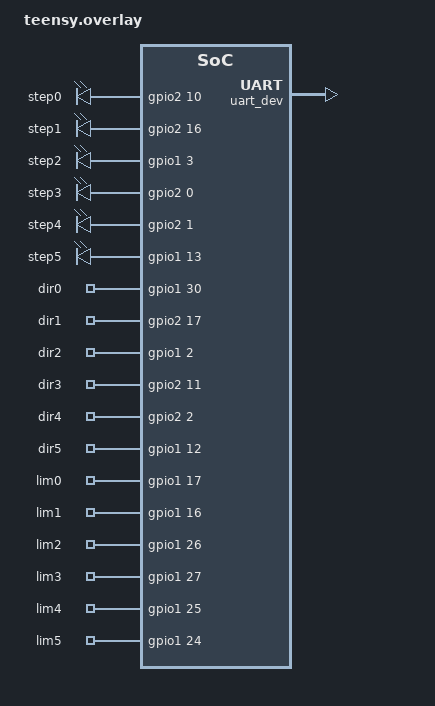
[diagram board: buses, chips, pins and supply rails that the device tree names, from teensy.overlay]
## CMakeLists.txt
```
cmake_minimum_required(VERSION 3.20.0)
find_package(Zephyr REQUIRED HINTS $ENV{ZEPHYR_BASE})
#arm_firmware v2
project(arm_firmware)

target_include_directories(app PRIVATE 
    include
    src
)

#telling it what targets to aim for

# FILE(GLOB app_sources src/main.cpp src/Axis.cpp)
# FILE(GLOB app_sources src/main2.cpp)
FILE(GLOB app_sources src/*.cpp)

target_sources(app PRIVATE ${app_sources}) 
```

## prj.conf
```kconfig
CONFIG_STDOUT_CONSOLE=y
CONFIG_USB_DEVICE_STACK=y
CONFIG_USB_DEVICE_PRODUCT="UBC ROVER Arm"
CONFIG_USB_DEVICE_PID=0x0001
CONFIG_LOG=y
CONFIG_USB_DRIVER_LOG_LEVEL_ERR=y
CONFIG_USB_DEVICE_LOG_LEVEL_ERR=y
CONFIG_SERIAL=y
CONFIG_UART_INTERRUPT_DRIVEN=y
CONFIG_UART_LINE_CTRL=y
CONFIG_USB_DEVICE_INITIALIZE_AT_BOOT=n

CONFIG_GPIO=y

CONFIG_NEWLIB_LIBC=y
CONFIG_STATIC_INIT_GNU=y
```

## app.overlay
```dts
&zephyr_udc0 {
	cdc_acm_uart0 {
		compatible = "zephyr_udc0,cdc-acm-uart";
	};
};
```

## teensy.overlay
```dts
//https://docs.zephyrproject.org/latest/boards/pjrc/teensy4/doc/index.html
//https://hackaday.com/wp-content/uploads/2020/05/teensy-4.1-pinout.png?w=640

&zephyr_udc0 {
	uart_dev: cdc_acm_uart0 {
		compatible = "zephyr,cdc-acm-uart";
	};
};
 
/ {
    gpio_pins {
        step_pins: step_pins {
			compatible = "gpio-leds";
            label = "Step Pins";
            step0: pin0 {
                gpios = <&gpio2 10 GPIO_ACTIVE_HIGH>;
            };
            step1: pin1 {
                gpios = <&gpio2 16 GPIO_ACTIVE_HIGH>;
            };
            step2: pin2 {
                gpios = <&gpio1 3 GPIO_ACTIVE_HIGH>;
            };
            step3: pin3 {
                gpios = <&gpio2 0 GPIO_ACTIVE_HIGH>;
            };
            step4: pin4 {
                gpios = <&gpio2 1 GPIO_ACTIVE_HIGH>;
            };
            step5: pin5 {
                gpios = <&gpio1 13 GPIO_ACTIVE_HIGH>;
            };
        };

		// Define direction GPIO pins
		dir_pins: dir_pins {
			compatible = "gpio-keys";
			label = "Direction Pins";
			dir0: pin0 {
				gpios = <&gpio1 30 GPIO_ACTIVE_HIGH>;
			};
			dir1: pin1 {
				gpios = <&gpio2 17 GPIO_ACTIVE_HIGH>;
			};
			dir2: pin2 {
				gpios = <&gpio1 2 GPIO_ACTIVE_HIGH>;
			};
			dir3: pin3 {
				gpios = <&gpio2 11 GPIO_ACTIVE_HIGH>;
			};
			dir4: pin4 {
				gpios = <&gpio2 2 GPIO_ACTIVE_HIGH>;
			};
			dir5: pin5 {
				gpios = <&gpio1 12 GPIO_ACTIVE_HIGH>;
			};
		};
		
		// Define limit GPIO pins
		lim_pins: lim_pins {
			compatible = "gpio-keys";
			label = "Limit Pins";
			lim0: pin0 {
				gpios = <&gpio1 17 ( GPIO_PULL_UP)>;
			};
			lim1: pin1 {
				gpios = <&gpio1 16 ( GPIO_PULL_UP)>;
			};
			lim2: pin2 {
				gpios = <&gpio1 26 ( GPIO_PULL_UP)>;
			};
			lim3: pin3 {
				gpios = <&gpio1 27 ( GPIO_PULL_UP)>;
			};
			lim4: pin4 {
				gpios = <&gpio1 25 ( GPIO_PULL_UP)>;
			};
			lim5: pin5 {
				gpios = <&gpio1 24 ( GPIO_PULL_UP)>;
			};
		};
	};
};
```

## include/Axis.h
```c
#pragma once
#include <armFirmware.hpp>
// #define INIT_AXIS(i) Axis(stepPins[i], dirPins[i], encPinA[i], encPinB[i], ppr[i], red[i])

//if an axis is within this many steps to its max/min
#define POSITION_STEP_LIMIT_THRESHOLD 50

struct Axis {

    //variables don't get properly set here, even if "int foo = 1000;" foo will still equal 0. initilize in the main function of main.cpp
   // Axis(int dirPin, int stepPin, int encPinA, int encPinB, long ppr, float reduction);
    //setup pins
    int index;
    int LIMIT_PIN[2];
    int DIR_PIN[2];
    int STEP_PIN[2];
    int ENC_PIN_A;
    int ENC_PIN_B;
    //motor gear reduction and driver PPR (make sure to factor in microstep settings)
    int PPR;
    float REDUCTION;
    bool pulse_state;
    bool moving;
    
    //units here are usec per step
    int max_speed;
    int home_speed;
    volatile int current_speed = 10000;
    volatile int target_speed = 10000;
    int max_start_speed = 20000;
    int zero_speed = 10000; //limits minimum speed to a feasible start speed


    int home_accel = 0;
    int start_accel = 250; 
    int accel_slope = 10; //should stay at 1 for maximum smoothness
    int current_accel = 20000;

    float target_velocity;
    float current_velocity;
    float max_velocity;
    float home_velocity;

    int macrostep;

    bool dir;
    bool last_dir = 0;
    //bool dir_signal;
    int home_dir;
    int home_dir_vel;
    bool homing;
    bool homed = false;
    int preset_step_pos[1];

    int max_step_pos;
    int min_step_pos = 20 + POSITION_STEP_LIMIT_THRESHOLD;

    volatile int steps_remaining;
    volatile int step_pos = 0; // not from encoders
    volatile int step_des_pos;

    int decel_min_steps;

    volatile float des_angle_pos = 0.0;
    volatile float angle_pos = 0.0;
    //float max_angle_
    
    struct k_timer stepper_timer;
    struct k_timer accel_timer;
    //struct gpio_callback limit_switch_cb_data;

//   // Code to configure pins
    struct gpio_dt_spec step_spec;
    struct gpio_dt_spec dir_spec;
    struct gpio_dt_spec lim_spec;
//   static struct gpio_callback limit_switch_cb_data;

    // void attach();
    void readEncoder();
    void updateAngles();

    //void step(int steps);
    void home();    

    void set_gpio_dir(bool value);
    void set_gpio_step(bool value);
    int get_gpio_lim();
};
```

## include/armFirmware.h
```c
/*
Created By: Rowan Z
Created On: August 17, 2023
Updated On: 
Description: Header file for firmware for driving a 6 axis arm via ROS on a teensy 4.1 MCU
*/

//TODO, 
/* more tags throughout code in this zephyr project

crashes with more than 3 axis -- wrong gpio, pin 11 was messed
weird shit in the buffer, but will just sanitize -- not processing tx buffer data properly



this is not easy

*/
#pragma once
#include <stdlib.h>
#include <stdio.h>

#include <zephyr/kernel.h>
#include <zephyr/device.h>
#include <zephyr/drivers/uart.h>
#include <zephyr/sys/ring_buffer.h>
#include <zephyr/logging/log.h>


//usb (needed for uart)
#include <zephyr/usb/usb_device.h>
#include <zephyr/usb/usbd.h>

#include <zephyr/drivers/gpio.h>

#include <Axis.h>

#include <string>

// #define UART_DEVICE_NODE DT_CHOSEN(zephyr_shell_uart)
//#define UART_DEVICE DT_NODELABEL(lpuart4) 
// #define UART_DEV        DT_NODELABEL(lpuart4)
#define MSG_SIZE 32

#define DEBUG_MSGS true

// general parameters
#define NUM_AXES 7
#define ON 0
#define OFF 1
#define SW_ON 0
#define SW_OFF 1
#define FWD 1
#define REV 0

#define RING_BUF_SIZE 2048
#define RX_BUF_SIZE 128
#define TX_BUF_SIZE 128

#define ARM_DEG_RESOLUTION 0.01
#define ARM_DEG_VELOCITY_RESOLUTION 0.05
#define EE_INDEX 6

#define HOME 1
#define ABSOLUTE_TARGET_POSITION 2
#define INCREMENTAL_TARGET_POSITION 3
#define TARGET_VELOCITY_ID 4 //sets the target velocity, but doesnt command arm, will only move if there are steps_remaining
#define TEST_LIMITS 5
#define ABSOLUTE_TARGET_VELOCITY_ID 6 //sets target velocity, and commands arm to move at that velocity
#define HELP_CMDTYPE 7


#define POSITION_CONTROL 1 
#define VELOCITY_CONTROL 2 
#define PRO_MODE false //removes accelleration limits. This is dangerous, but gives the operator full control over when the arm stops


#define NUM_PRESET_POSITIONS 1
#define DEFAULT_POSITION 0

#define POSITION_PING_MS_INTERVAL 10 // 50ms is 20 hz // 20ms is 50hz // 10ms is 100hz 

#define SPEED_PING_MS_INTERVAL 150 // 50ms is 20 hz


#define ARM_COMM_RATE 20 //Hz, only here for refrence

//comm characters
#define HOME_CHAR 'h'
#define ANGLE_CALLBACK_CHAR 'A'
#define HELP_CHAR '?'

#define ACCEL_CURVE 1





//weird pin mappings
//all the usefull documentation I could find: https://docs.zephyrproject.org/latest/boards/arm/teensy4/doc/index.html 
// https://docs.zephyrproject.org/latest/boards/pjrc/teensy4/doc/index.html

// Motor pins     
// inline int stepPins[6] =   {6, 8, 2, 10, 12, 25}; 
// inline int dirPins[6] =    {5, 7, 1, 9, 11, 24}; 

//To GPIO devs                  //not working: 3 //working one dir: 1   // working: 2, 4, 5, 6 
inline int stepGPIO_PIN[NUM_AXES][2] =   {{2,10}, {2,16}, {1,3}, {2,0}, {2,1}, {1,13}, {2,18}}; 
inline int dirGPIO_PIN[NUM_AXES][2] =    {{1,30}, {2,17}, {1,2}, {2,11}, {2,2}, {1,12}, {2,19}}; 
// inline int stepGPIO_PIN[NUM_AXES][2] =   {{2,10}, {2,16}, {1,3}, {2,0}, {2,1}, {2,18}, {1, 13}}; 
// inline int dirGPIO_PIN[NUM_AXES][2] =    {{1,30}, {2,17}, {1,2}, {2,11}, {2,2}, {2,19}, {1, 12}}; 
inline int arpo = 0;

// Encoder pins
// inline int encPinA[6] = {17, 38, 40, 36, 13, 15};
// inline int encPinB[6] = {16, 37, 39, 35, 41, 14};

// limit switch pins
// inline int limPins[6] = {18, 19, 20, 21, 23, 22};
inline int limGPIO_PIN[NUM_AXES][2] = {{1,17}, {1,16}, {1,26}, {1,27}, {1,25}, {1,24}, {1, 25}}; //4,8

// pulses per revolution for motors
inline int ppr[NUM_AXES] = {400, 400, 400, 400, 400, 400, 400};

// Gear Reductions
// inline float red[6] = {50.0, 160.0, 92.3077, 43.936, 57.0, 5.18}; 
inline float red[NUM_AXES] = {50.0, 160.0, 92.3077, 250, 57.0, 170.00, 100.0}; //? Double check with arm 
// inline float red[6] = {50.0, 160.0, 92.3077, 43.936, 57.0, 20.00}; //? Double check with arm -> August 11th
//?A6 10:17 for belts -> 170 to one

//from old driver
// // Motor pins      
// int stepPins[6] =   {6, 8, 2, 10, 12, 25}; 
// int dirPins[6] =    {5, 7, 1, 9, 11, 24}; 

// // Encoder pins
// int encPinA[6] = {17, 38, 40, 36, 13, 15};
// int encPinB[6] = {16, 37, 39, 35, 41, 14};

// // limit switch pins
// int limPins[6] = {18, 19, 20, 21, 23, 22};

// // pulses per revolution for motors
// long ppr[6] = {400, 400, 400, 400, 400, 400};

// // Gear Reductions
// float red[6] = {50.0, 160.0, 92.3077, 43.936, 57.0, 5.18};

// End effector variables
const int closePos = 0; 
const int openPos = 9000; //TODO: needs to be set with proper step value for gear redcution and ppr
const int EEstepPin = 4;
const int EEdirPin = 3;
const int speedEE = 1000;
const int accEE = 1000;
const int MOTOR_DIR_EE = -1;
const int forcePin = 12;


inline bool arm_homing = false;
inline bool arm_inited = false;


// Encoder Variables
inline int curEncSteps[NUM_AXES], cmdEncSteps[NUM_AXES];
const int pprEnc = 512;
// const float ENC_MULT[] = {5.12, 5.12, 5.12, 5.12, 5.12, 5.12};
inline float ENC_STEPS_PER_DEG[NUM_AXES];

inline int control_mode = VELOCITY_CONTROL;


//this creates the device for gpio pins
inline const struct device *gpio1_dev;
inline const struct device *gpio2_dev;
inline const struct device *gpio3_dev;
inline const struct device *gpio4_dev;


inline struct ring_buf ringbuf;


inline const struct device *dev;
//inline char tx_msg[TX_BUF_SIZE];

void sendMsg(const char tx_msg[TX_BUF_SIZE]);

//timer callback to handle step signals
void stepper_timer_callback(struct k_timer *timer_id);

void home_timer_callback(struct k_timer *timer_id);
void accelTimer_callback(struct k_timer *timer_id);


void limit_switch_callback(const struct device *dev, struct gpio_callback *cb, uint32_t pins);

void parseCmd(uint8_t cmd[RX_BUF_SIZE]);
void parseAbsoluteTargetPositionCmd(uint8_t cmd[RX_BUF_SIZE]);
void parseIncrementalTargetPositionCmd(uint8_t cmd[RX_BUF_SIZE]);
void parseHomeCmd(uint8_t cmd[RX_BUF_SIZE]);
void parseHelpCmd(uint8_t cmd[RX_BUF_SIZE]);
void parseSettingCmd(uint8_t cmd[RX_BUF_SIZE]);
void parseAbsoluteTargetVelocityCmd(uint8_t cmd[RX_BUF_SIZE]);

void testLimits();


void initilizeAxis(struct InstAxis *instance);
void stepAxis(int axis);
void stepAll_timer_callback(struct k_timer *timer_id);
void pingStepPosition_timer_callback(struct k_timer *timer_id);
void pingAnglePosition_timer_callback(struct k_timer *timer_id);

int angleToSteps(float angle, int i);
float stepsToAngle(int steps, int i);
int degPerSecToUsecPerStep(float angle, int i);
int degPerSecToMsecPerStep(float angle, int i);
float usecPerStepToDegPerSec(int steps, int i);


void updateAngles();

//void stepTo(int pos);
void homeAllAxes();
//inline bool homed[NUM_AXES] = {0};

void goto_preset(int position);

int pos_or_negative_float(float val);


void set_gpio(int dev, int pin, int value);
int get_gpio(int dev, int pin);
```

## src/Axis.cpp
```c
#include "Axis.h"

//struct k_timer stepper_timer;

// Axis::Axis(int dirPin, int stepPin, int encPinA, int encPinB, long ppr, float reduction)
//   : DIR_PIN(dirPin), STEP_PIN(stepPin), ENC_PIN_A(encPinA), ENC_PIN_B(encPinB), PPR(ppr), REDUCTION(reduction) {}
  // Code to configure pins
//   const struct device *stepdev;
//   const struct device *dirdev;
//   const struct device *limdev;


// void Axis::attach() {



// 	switch (STEP_PIN[0])
// 	{
// 	case 1:
// 		stepdev = gpio1_dev;
// 		break;
	
// 	case 2:
// 		stepdev = gpio2_dev;

// 		break;
// 	case 4:
// 		stepdev = gpio2_dev;
// 		break;
// 	default:
// 		break;
// 	}

//   switch (DIR_PIN[0])
// 	{
// 	case 1:
// 		dirdev = gpio1_dev;
// 		break;
	
// 	case 2:
// 		dirdev = gpio2_dev;
// 		break;
// 	case 4:
// 		dirdev = gpio2_dev;
// 		break;
// 	default:
// 		break;
// 	}

//   switch (LIMIT_PIN[0])
// 	{
// 	case 1:
// 		limdev = gpio1_dev;
// 		break;
	
// 	case 2:
// 		limdev = gpio2_dev;

// 		break;
// 	case 4:
// 		limdev = gpio2_dev;
// 		break;
// 	default:
// 		break;
// 	}

//     int zoo;
//     zoo = gpio_pin_configure(stepdev, STEP_PIN[1], GPIO_OUTPUT);
//     zoo = zoo ? zoo : gpio_pin_configure(dirdev, DIR_PIN[1], GPIO_OUTPUT);
//     zoo = zoo ? zoo : gpio_pin_configure(limdev, LIMIT_PIN[1], GPIO_INPUT | GPIO_PULL_UP);
// 	// gpio_init_callback(&limit_switch_cb_data, limit_switch_callback, BIT(LIMIT_PIN[1]));
// 	// gpio_add_callback(limdev, &limit_switch_cb_data);
// 	// gpio_pin_interrupt_configure(limdev, LIMIT_PIN[1], GPIO_INT_EDGE_FALLING);



//     //gpio_pin_configure(gpio_dev, axes[i].STEP_PIN, GPIO_OUTPUT);
// 	  // gpio_pin_configure(gpio_dev, axes[i].DIR_PIN, GPIO_OUTPUT);

//   //  // err = err ? err : gpio_pin_configure(g)
// }



// void Axis::readEncoder() {
//   // Code to read the encoder
// }



// void Axis::home() {
//   // Code to home the axis
// }

int Axis::get_gpio_lim () {
	return gpio_pin_get_dt(&lim_spec);
}

void Axis::set_gpio_step (bool val) {
	gpio_pin_set_dt(&lim_spec, val);
}

void Axis::set_gpio_dir (bool val) {
	gpio_pin_set_dt(&lim_spec, val);
}
```

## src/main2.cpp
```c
/*
 * Copyright (c) 2012-2014 Wind River Systems, Inc.
 *
 * SPDX-License-Identifier: Apache-2.0
 */

#include <stdio.h>
#include <zephyr/kernel.h>
#include <zephyr/device.h>
#include <zephyr/drivers/gpio.h>

static const struct gpio_dt_spec step_spec0 = GPIO_DT_SPEC_GET(DT_NODELABEL(step0), gpios);
static const struct gpio_dt_spec step_spec1 = GPIO_DT_SPEC_GET(DT_NODELABEL(step1), gpios);
static const struct gpio_dt_spec step_spec2 = GPIO_DT_SPEC_GET(DT_NODELABEL(step2), gpios);
static const struct gpio_dt_spec step_spec3 = GPIO_DT_SPEC_GET(DT_NODELABEL(step3), gpios);
static const struct gpio_dt_spec step_spec4 = GPIO_DT_SPEC_GET(DT_NODELABEL(step4), gpios);
static const struct gpio_dt_spec step_spec5 = GPIO_DT_SPEC_GET(DT_NODELABEL(step5), gpios);

static const struct gpio_dt_spec dir_spec0 = GPIO_DT_SPEC_GET(DT_NODELABEL(dir0), gpios);
static const struct gpio_dt_spec dir_spec1 = GPIO_DT_SPEC_GET(DT_NODELABEL(dir1), gpios);
static const struct gpio_dt_spec dir_spec2 = GPIO_DT_SPEC_GET(DT_NODELABEL(dir2), gpios);
static const struct gpio_dt_spec dir_spec3 = GPIO_DT_SPEC_GET(DT_NODELABEL(dir3), gpios);
static const struct gpio_dt_spec dir_spec4 = GPIO_DT_SPEC_GET(DT_NODELABEL(dir4), gpios);
static const struct gpio_dt_spec dir_spec5 = GPIO_DT_SPEC_GET(DT_NODELABEL(dir5), gpios);

static const struct gpio_dt_spec lim_spec0 = GPIO_DT_SPEC_GET(DT_NODELABEL(lim0), gpios);
static const struct gpio_dt_spec lim_spec1 = GPIO_DT_SPEC_GET(DT_NODELABEL(lim1), gpios);
static const struct gpio_dt_spec lim_spec2 = GPIO_DT_SPEC_GET(DT_NODELABEL(lim2), gpios); 
static const struct gpio_dt_spec lim_spec3 = GPIO_DT_SPEC_GET(DT_NODELABEL(lim3), gpios);
static const struct gpio_dt_spec lim_spec4 = GPIO_DT_SPEC_GET(DT_NODELABEL(lim4), gpios);
static const struct gpio_dt_spec lim_spec5 = GPIO_DT_SPEC_GET(DT_NODELABEL(lim5), gpios);

// int main(void)
// {
//     if(!device_is_ready(step_spec0.port)){
//         printf("Hello Wo22r");
//         return 1;
//     }

//     int ret = gpio_pin_configure_dt(&step_spec0, GPIO_OUTPUT_ACTIVE);
//     if (ret != 0) {
//         printf("Hello Wor");
//         return 1;
//     }

// 	while (true){
// 		printf("Hello World! %s\n", CONFIG_BOARD_TARGET);
//         ret = gpio_pin_toggle_dt(&step_spec0);
//         if (ret != 0) return 1;

// 		k_msleep(1000);
// 	}

// 	return 0;
// }

int main(void)
{
    int ret;

    // Configure step_spec GPIOs
    if (!device_is_ready(step_spec0.port)) {
        printk("step_spec0 not ready\n");
        return 0;
    }
    ret = gpio_pin_configure_dt(&step_spec0, GPIO_OUTPUT_ACTIVE);
    if (ret != 0) {
        printk("Failed to configure step_spec0\n");
        return 0;
    }

    if (!device_is_ready(step_spec1.port)) {
        printk("step_spec1 not ready\n");
        return 0;
    }
    ret = gpio_pin_configure_dt(&step_spec1, GPIO_OUTPUT_ACTIVE);
    if (ret != 0) {
        printk("Failed to configure step_spec1\n");
        return 0;
    }

    if (!device_is_ready(step_spec2.port)) {
        printk("step_spec2 not ready\n");
        return 0;
    }
    ret = gpio_pin_configure_dt(&step_spec2, GPIO_OUTPUT_ACTIVE);
    if (ret != 0) {
        printk("Failed to configure step_spec2\n");
        return 0;
    }

    if (!device_is_ready(step_spec3.port)) {
        printk("step_spec3 not ready\n");
        return 0;
    }
    ret = gpio_pin_configure_dt(&step_spec3, GPIO_OUTPUT_ACTIVE);
    if (ret != 0) {
        printk("Failed to configure step_spec3\n");
        return 0;
    }

    if (!device_is_ready(step_spec4.port)) {
        printk("step_spec4 not ready\n");
        return 0;
    }
    ret = gpio_pin_configure_dt(&step_spec4, GPIO_OUTPUT_ACTIVE);
    if (ret != 0) {
        printk("Failed to configure step_spec4\n");
        return 0;
    }

    if (!device_is_ready(step_spec5.port)) {
        printk("step_spec5 not ready\n");
        return 0;
    }
    ret = gpio_pin_configure_dt(&step_spec5, GPIO_OUTPUT_ACTIVE);
    if (ret != 0) {
        printk("Failed to configure step_spec5\n");
        return 0;
    }

    // Configure dir_spec GPIOs
    if (!device_is_ready(dir_spec0.port)) {
        printk("dir_spec0 not ready\n");
        return 0;
    }
    ret = gpio_pin_configure_dt(&dir_spec0, GPIO_OUTPUT_ACTIVE);
    if (ret != 0) {
        printk("Failed to configure dir_spec0\n");
        return 0;
    }

    if (!device_is_ready(dir_spec1.port)) {
        printk("dir_spec1 not ready\n");
        return 0;
    }
    ret = gpio_pin_configure_dt(&dir_spec1, GPIO_OUTPUT_ACTIVE);
    if (ret != 0) {
        printk("Failed to configure dir_spec1\n");
        return 0;
    }

    if (!device_is_ready(dir_spec2.port)) {
        printk("dir_spec2 not ready\n");
        return 0;
    }
    ret = gpio_pin_configure_dt(&dir_spec2, GPIO_OUTPUT_ACTIVE);
    if (ret != 0) {
        printk("Failed to configure dir_spec2\n");
        return 0;
    }

    if (!device_is_ready(dir_spec3.port)) {
        printk("dir_spec3 not ready\n");
        return 0;
    }
    ret = gpio_pin_configure_dt(&dir_spec3, GPIO_OUTPUT_ACTIVE);
    if (ret != 0) {
        printk("Failed to configure dir_spec3\n");
        return 0;
    }

    if (!device_is_ready(dir_spec4.port)) {
        printk("dir_spec4 not ready\n");
        return 0;
    }
    ret = gpio_pin_configure_dt(&dir_spec4, GPIO_OUTPUT_ACTIVE);
    if (ret != 0) {
        printk("Failed to configure dir_spec4\n");
        return 0;
    }

    if (!device_is_ready(dir_spec5.port)) {
        printk("dir_spec5 not ready\n");
        return 0;
    }
    ret = gpio_pin_configure_dt(&dir_spec5, GPIO_OUTPUT_ACTIVE);
    if (ret != 0) {
        printk("Failed to configure dir_spec5\n");
        return 0;
    }

    // Configure lim_spec GPIOs
    if (!device_is_ready(lim_spec0.port)) {
        printk("lim_spec0 not ready\n");
        return 0;
    }
    ret = gpio_pin_configure_dt(&lim_spec0, GPIO_INPUT);
    if (ret != 0) {
        printk("Failed to configure lim_spec0\n");
        return 0;
    }

    if (!device_is_ready(lim_spec1.port)) {
        printk("lim_spec1 not ready\n");
        return 0;
    }
    ret = gpio_pin_configure_dt(&lim_spec1, GPIO_INPUT);
    if (ret != 0) {
        printk("Failed to configure lim_spec1\n");
        return 0;
    }

    if (!device_is_ready(lim_spec2.port)) {
        printk("lim_spec2 not ready\n");
        return 0;
    }
    ret = gpio_pin_configure_dt(&lim_spec2, GPIO_INPUT);
    if (ret != 0) {
        printk("Failed to configure lim_spec2\n");
        return 0;
    }

    if (!device_is_ready(lim_spec3.port)) {
        printk("lim_spec3 not ready\n");
        return 0;
    }
    ret = gpio_pin_configure_dt(&lim_spec3, GPIO_INPUT);
    if (ret != 0) {
        printk("Failed to configure lim_spec3\n");
        return 0;
    }

    if (!device_is_ready(lim_spec4.port)) {
        printk("lim_spec4 not ready\n");
        return 0;
    }
    ret = gpio_pin_configure_dt(&lim_spec4, GPIO_INPUT);
    if (ret != 0) {
        printk("Failed to configure lim_spec4\n");
        return 0;
    }

    if (!device_is_ready(lim_spec5.port)) {
        printk("lim_spec5 not ready\n");
        return 0;
    }
    ret = gpio_pin_configure_dt(&lim_spec5, GPIO_INPUT);
    if (ret != 0) {
        printk("Failed to configure lim_spec5\n");
        return 0;
    }

    printk("GPIO configuration completed successfully!\n");
}
```
